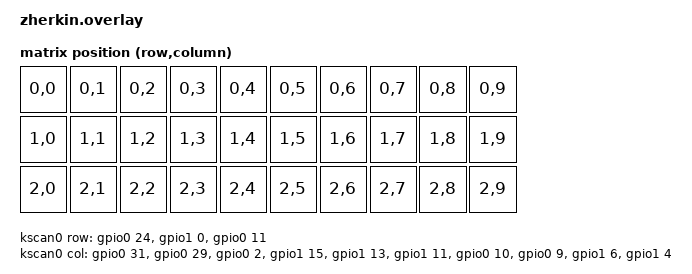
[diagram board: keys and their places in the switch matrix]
// zherkin overlay

#include <dt-bindings/zmk/matrix_transform.h>

/ {
    chosen {
        zmk,kscan = &kscan0;
        zmk,matrix-transform = &default_transform;
    };

    default_transform: key_transform {
        compatible = "zmk,matrix-transform";
        columns = <10>;
        rows = <3>;
        map = <
            RC(0,0) RC(0,1) RC(0,2) RC(0,3) RC(0,4) RC(0,5) RC(0,6) RC(0,7) RC(0,8) RC(0,9)
            RC(1,0) RC(1,1) RC(1,2) RC(1,3) RC(1,4) RC(1,5) RC(1,6) RC(1,7) RC(1,8) RC(1,9)
            RC(2,0) RC(2,1) RC(2,2) RC(2,3) RC(2,4) RC(2,5) RC(2,6) RC(2,7) RC(2,8) RC(2,9)
        >;
    };

    kscan0: kscan0 {
        compatible = "zmk,kscan-gpio-matrix";
        diode-direction = "col2row"; 

        row-gpios = <&gpio0 24 (GPIO_ACTIVE_HIGH | GPIO_PULL_DOWN)>,
                    <&gpio1 0  (GPIO_ACTIVE_HIGH | GPIO_PULL_DOWN)>, // Left-side P1.00 (D6)
                    <&gpio0 11 (GPIO_ACTIVE_HIGH | GPIO_PULL_DOWN)>; // Left-side P0.11 (D7)

        col-gpios = <&gpio0 31 GPIO_ACTIVE_HIGH>, // Right-side P0.31 (D21)
                    <&gpio0 29 GPIO_ACTIVE_HIGH>, // Right-side P0.29 (D20)
                    <&gpio0 2  GPIO_ACTIVE_HIGH>, // Right-side P0.02 (D19)
                    <&gpio1 15 GPIO_ACTIVE_HIGH>, // Right-side P1.15 (D18)
                    <&gpio1 13 GPIO_ACTIVE_HIGH>, // Right-side P1.13 (D15)
                    <&gpio1 11 GPIO_ACTIVE_HIGH>, // Right-side P1.11 (D14)
                    <&gpio0 10 GPIO_ACTIVE_HIGH>, // Right-side P0.10 (D16)
                    <&gpio0 9  GPIO_ACTIVE_HIGH>, // Right-side P0.09 (D10)
                    <&gpio1 6  GPIO_ACTIVE_HIGH>, // Left-side P1.06 (D9)
                    <&gpio1 4  GPIO_ACTIVE_HIGH>; // Left-side P1.04 (D8)
    };
};
